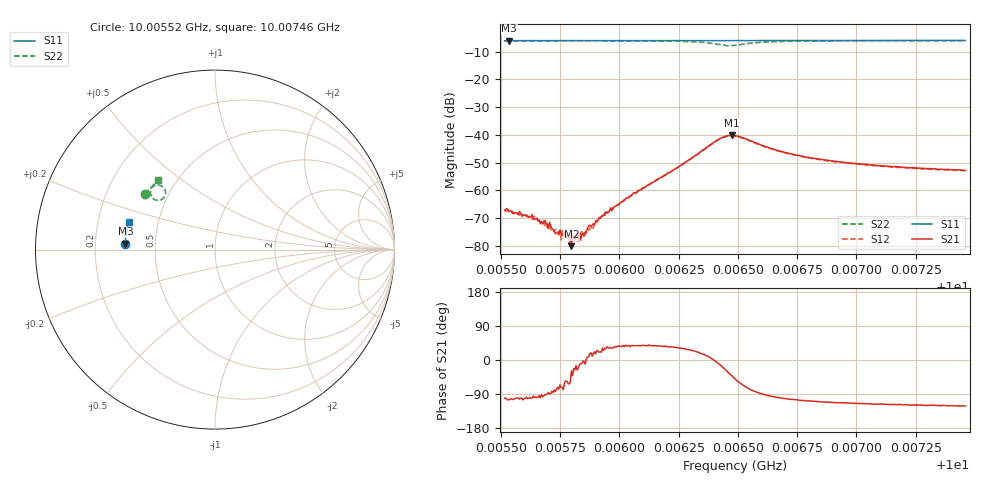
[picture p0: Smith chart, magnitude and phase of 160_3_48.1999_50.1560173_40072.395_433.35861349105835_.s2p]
#  HZ  S  RI  R  50.00
! Rohde & Schwarz Vector Network Analyzer
! Rohde-Schwarz,ZNB20-2Port,1311601062101988,3.16
! Created: UTC 3/20/2024, 11:43:12 AM
! freq[Hz]  re:S11  im:S11  re:S21  im:S21  re:S12  im:S12  re:S22  im:S22
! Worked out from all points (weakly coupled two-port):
!   401 points, 10.00552 GHz to 10.00746 GHz, reference 50 ohm
!   highest |S21| = -40.15 dB at 10.00647 GHz (marker M1); lowest = -80.1 dB at 10.0058 GHz (marker M2)
!   lowest |S11| = -6.0 dB at 10.00554 GHz (marker M3), VSWR 3.00, Z = 16.7 + j1.44 ohm
!   |S11| at or under -10 dB: nowhere
!   |S22| runs from -7.8 to -6.0 dB; largest |S21 - S12| = 0.00057
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1.0005516e10  -0.4997 0.031  -8.16e-05 -0.000436  -9.43e-05 -0.000409  -0.3894 0.3085
1.0005535e10  -0.4995 0.0323  -0.000107 -0.000402  -9.13e-05 -0.000424  -0.3885 0.3094
1.0005647e10  -0.4993 0.0396  -4.13e-05 -0.000304  -2.38e-05 -0.000302  -0.3834 0.3164
1.0005696e10  -0.4992 0.0428  7.76e-07 -0.000251  7.73e-06 -0.000214  -0.381 0.3193
1.0005735e10  -0.499 0.0454  3.69e-05 -0.000168  4.22e-05 -0.000186  -0.379 0.3216
1.0005759e10  -0.499 0.0469  4.84e-05 -0.000152  2.41e-05 -0.000186  -0.3779 0.3232
1.0005769e10  -0.4988 0.0474  8.67e-05 -0.000151  7.01e-05 -0.000137  -0.3773 0.3238
1.0005788e10  -0.4988 0.0488  6.33e-05 -0.000127  7.14e-05 -8.08e-05  -0.3763 0.325
1.0005798e10  -0.4988 0.0495  8.66e-05 -4.78e-05  9.75e-05 -6.98e-05  -0.3758 0.3257
1.0005807e10  -0.4987 0.0501  0.000128 -5.21e-05  0.000119 -8.38e-05  -0.3754 0.3263
1.0005812e10  -0.4987 0.0503  0.000113 -5.47e-05  0.000125 -7.63e-05  -0.375 0.3266
1.0005841e10  -0.4984 0.0524  0.000156 -2.78e-05  0.000181 4.06e-06  -0.3733 0.3285
1.000588e10  -0.4984 0.0548  0.000215 7.37e-05  0.000214 8.86e-05  -0.3712 0.3309
1.0005953e10  -0.4981 0.0595  0.000337 0.000209  0.00035 0.00023  -0.3663 0.3358
1.0006167e10  -0.4965 0.0733  0.0013 0.000974  0.00126 0.001  -0.3468 0.3514
1.0006415e10  -0.4936 0.0892  0.0081 -0.0011  0.00796 -0.000654  -0.2767 0.3283
1.0006473e10  -0.493 0.0923  0.00738 -0.00648  0.00752 -0.00595  -0.2932 0.2816
1.0006488e10  -0.4932 0.0933  0.00625 -0.00742  0.0065 -0.00695  -0.3051 0.2758
1.0006663e10  -0.4919 0.1043  -0.000791 -0.00524  -0.000509 -0.00521  -0.3599 0.3201
1.0006813e10  -0.4901 0.114  -0.00122 -0.00363  -0.00103 -0.0036  -0.3535 0.3438
1.0007139e10  -0.4856 0.1345  -0.00126 -0.00243  -0.00113 -0.00242  -0.3356 0.3698
1.0007459e10  -0.4803 0.1546  -0.00121 -0.00197  -0.00111 -0.00198  -0.3188 0.3873
